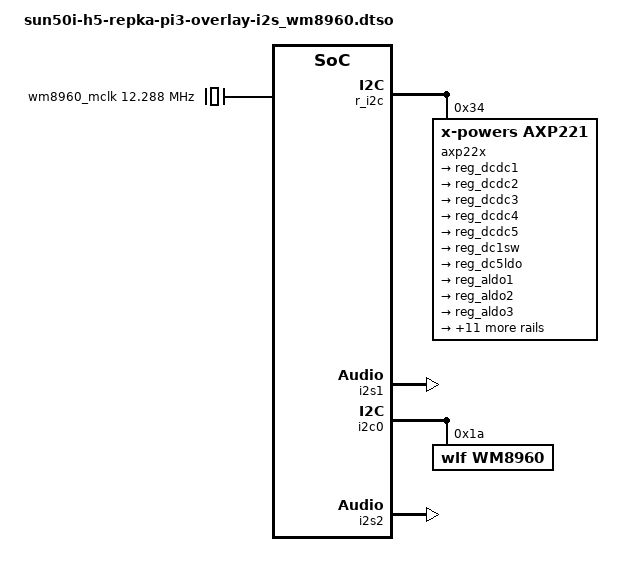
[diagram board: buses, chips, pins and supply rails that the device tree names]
/dts-v1/;
/plugin/;

/ {
	fragment@0 {
		target = <&r_i2c>;
		__overlay__ {
			axp22x: pmic@34 {
				compatible = "x-powers,axp221";
				reg = <0x34>;
				interrupt-parent = <&r_intc>;
				interrupts = <0 8>;
			};
		};
	};

	fragment@1 {
		target = <&axp22x>;
		__overlay__ {
			interrupt-controller;
			#interrupt-cells = <1>;

			ac_power_supply: ac-power-supply {
				compatible = "x-powers,axp221-ac-power-supply";
				status = "disabled";
			};

			battery_power_supply: battery-power-supply {
				compatible = "x-powers,axp221-battery-power-supply";
				status = "disabled";
			};

			regulators {
				/* Default work frequency for buck regulators */
				x-powers,dcdc-freq = <3000>;

				reg_dcdc1: dcdc1 {
					regulator-name = "dcdc1";
				};

				reg_dcdc2: dcdc2 {
					regulator-name = "dcdc2";
				};

				reg_dcdc3: dcdc3 {
					regulator-name = "dcdc3";
				};

				reg_dcdc4: dcdc4 {
					regulator-name = "dcdc4";
				};

				reg_dcdc5: dcdc5 {
					regulator-name = "dcdc5";
				};

				reg_dc1sw: dc1sw {
					regulator-name = "dc1sw";
				};

				reg_dc5ldo: dc5ldo {
					regulator-name = "dc5ldo";
				};

				reg_aldo1: aldo1 {
					regulator-name = "aldo1";
				};

				reg_aldo2: aldo2 {
					regulator-name = "aldo2";
				};

				reg_aldo3: aldo3 {
					regulator-name = "aldo3";
				};

				reg_dldo1: dldo1 {
					regulator-name = "dldo1";
				};

				reg_dldo2: dldo2 {
					regulator-name = "dldo2";
				};

				reg_dldo3: dldo3 {
					regulator-name = "dldo3";
				};

				reg_dldo4: dldo4 {
					regulator-name = "dldo4";
				};

				reg_eldo1: eldo1 {
					regulator-name = "eldo1";
				};

				reg_eldo2: eldo2 {
					regulator-name = "eldo2";
				};

				reg_eldo3: eldo3 {
					regulator-name = "eldo3";
				};

				reg_ldo_io0: ldo_io0 {
					regulator-name = "ldo_io0";
					status = "disabled";
				};

				reg_ldo_io1: ldo_io1 {
					regulator-name = "ldo_io1";
					status = "disabled";
				};

				reg_rtc_ldo: rtc_ldo {
					/* RTC_LDO is a fixed, always-on regulator */
					regulator-always-on;
					regulator-min-microvolt = <3000000>;
					regulator-max-microvolt = <3000000>;
					regulator-name = "rtc_ldo";
				};

				reg_drivevbus: drivevbus {
					regulator-name = "drivevbus";
					status = "disabled";
				};
			};

			usb_power_supply: usb_power_supply {
				compatible = "x-powers,axp221-usb-power-supply";
				status = "disabled";
			};
		};
	};

	fragment@2 {
		target = <&i2s1>;
		__overlay__ {
			status = "okay";
			pinctrl-0 = <&i2s1_pins>;
			sound-dai = <&wm8960>;
			pinctrl-names = "default";
		};
	};

	fragment@3 {
		target-path = "/";
		__overlay__ {
			wm8960_mclk: wm8960_mclk {
				compatible = "fixed-clock";
				#clock-cells = <0>;
				clock-frequency = <12288000>;
			};

			sound_i2s {
				compatible = "simple-audio-card";
				simple-audio-card,name = "wm8960-soundcard";
				simple-audio-card,mclk-fs = <256>;
				simple-audio-card,format = "i2s";
				status = "okay";
				simple-audio-card,widgets =
					"Microphone", "Mic Jack",
					"Line", "Line In",
					"Line", "Line Out",
					"Speaker", "Speaker",
					"Headphone", "Headphone Jack";
				simple-audio-card,routing =
					"Headphone Jack", "HP_L",
					"Headphone Jack", "HP_R",
					"Speaker", "SPK_LP",
					"Speaker", "SPK_LN",
					"LINPUT1", "Mic Jack",
					"LINPUT3", "Mic Jack",
					"RINPUT1", "Mic Jack",
					"RINPUT2", "Mic Jack";

				simple-audio-card,cpu {
					sound-dai = <&i2s1>;
				};
				dailink0_slave: simple-audio-card,codec {
					sound-dai = <&wm8960>;
					clocks = <&wm8960_mclk>;
					clock-names = "mclk";
				};
			};
		};
	};

    fragment@4 {
		target = <&i2c0>;
		__overlay__ {
			status = "okay";	/* PA11, PA12 */
			#address-cells = <1>;
			#size-cells = <0>;

			wm8960: wm8960 {
				compatible = "wlf,wm8960";
				reg = <0x1a>;
				#sound-dai-cells = <0>;
/*				AVDD-supply = <&vdd_5v0_reg>;  */
/*				DVDD-supply = <&vdd_3v3_reg>;  */
				status = "okay";
			};
		};
	};

	fragment@5 {
		target = <&i2s2>;
		__overlay__ {
			status = "okay";
		};
	};

};
